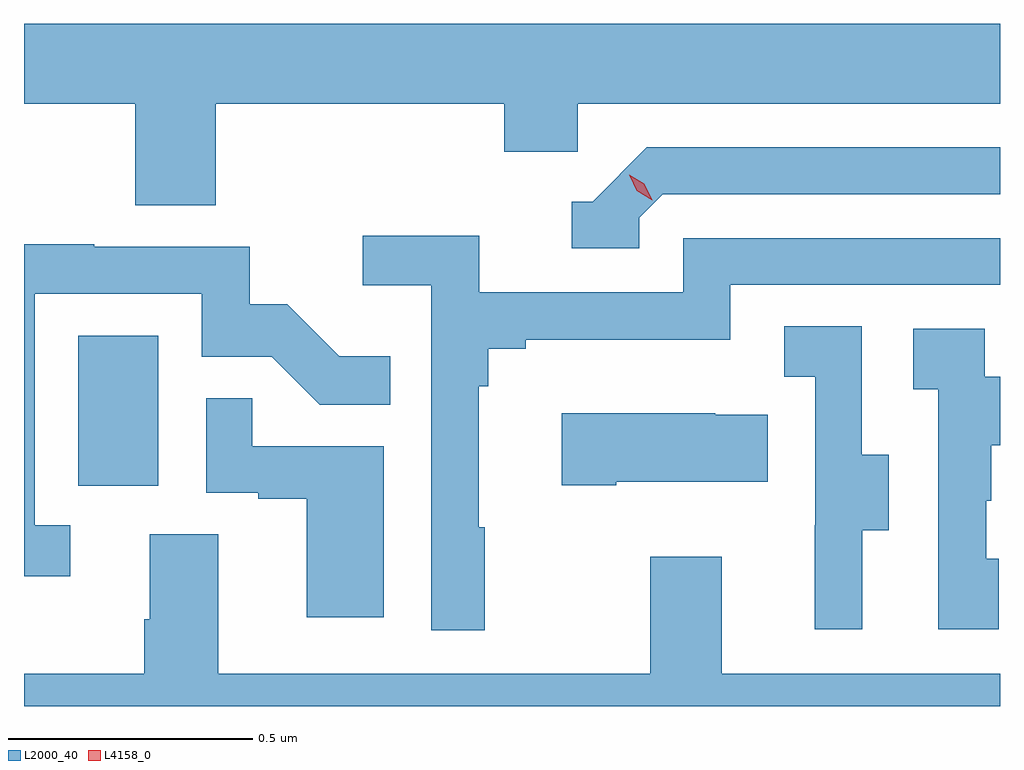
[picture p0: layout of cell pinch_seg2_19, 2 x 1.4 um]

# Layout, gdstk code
import gdstk
lib = gdstk.Library(unit=1e-6, precision=1e-09)
def R(c, l, rs):  # rectangles x0, y0, x1, y1
    for r in rs: c.add(gdstk.rectangle(r[:2], r[2:], *l))
def P(c, l, *ps):  # polygons
    for p in ps: c.add(gdstk.Polygon(p, *l))
L2000_40 = (2000, 40)
L4158_0 = (4158, 0)

pinch_seg2_19 = lib.new_cell('pinch_seg2_19')
R(pinch_seg2_19, L2000_40, [(1090.172,652.182,1090.336,652.489)])
P(pinch_seg2_19, L2000_40, [(1090.454,652.964),(1091.045,652.964),(1091.045,652.866),(1091.196,652.866),(1091.196,652.964),(1092.061,652.964),(1092.061,653.128),(1090.061,653.128),(1090.061,652.964),(1090.289,652.964),(1090.289,652.756),(1090.454,652.756)],
  [(1091.322,652.731),(1091.37,652.779),(1092.061,652.779),(1092.061,652.875),(1091.337,652.875),(1091.226,652.764),(1091.183,652.764),(1091.183,652.668),(1091.322,652.668)],
  [(1091.005,652.097),(1090.993,652.097),(1090.993,652.385),(1091.012,652.385),(1091.012,652.462),(1091.089,652.462),(1091.089,652.481),(1091.508,652.481),(1091.508,652.593),(1092.061,652.593),(1092.061,652.689),(1091.412,652.689),(1091.412,652.578),(1090.994,652.578),(1090.994,652.694),(1090.755,652.694),(1090.755,652.592),(1090.896,652.592),(1090.896,651.885),(1091.005,651.885)],
  [(1090.156,652.101),(1090.083,652.101),(1090.083,652.575),(1090.425,652.575),(1090.425,652.446),(1090.569,652.446),(1090.667,652.348),(1090.811,652.348),(1090.811,652.447),(1090.707,652.447),(1090.6,652.554),(1090.524,652.554),(1090.524,652.671),(1090.205,652.671),(1090.205,652.676),(1090.061,652.676),(1090.061,651.996),(1090.156,651.996)],
  [(1091.779,652.09),(1091.833,652.09),(1091.833,652.245),(1091.778,652.245),(1091.778,652.508),(1091.619,652.508),(1091.619,652.405),(1091.682,652.405),(1091.682,652.101),(1091.681,652.101),(1091.681,651.888),(1091.779,651.888)],
  [(1092.058,652.032),(1092.033,652.032),(1092.033,652.151),(1092.043,652.151),(1092.043,652.265),(1092.061,652.265),(1092.061,652.405),(1092.03,652.405),(1092.03,652.503),(1091.883,652.503),(1091.883,652.379),(1091.934,652.379),(1091.934,651.888),(1092.058,651.888)],
  [(1090.798,652.263),(1090.529,652.263),(1090.529,652.361),(1090.434,652.361),(1090.434,652.167),(1090.541,652.167),(1090.541,652.155),(1090.64,652.155),(1090.64,651.912),(1090.798,651.912)],
  [(1091.275,652.19),(1091.585,652.19),(1091.585,652.327),(1091.477,652.327),(1091.477,652.33),(1091.163,652.33),(1091.163,652.183),(1091.275,652.183)],
  [(1092.061,651.796),(1091.491,651.796),(1091.491,652.036),(1091.344,652.036),(1091.344,651.796),(1090.459,651.796),(1090.459,652.082),(1090.319,652.082),(1090.319,651.908),(1090.307,651.908),(1090.307,651.796),(1090.061,651.796),(1090.061,651.73),(1092.061,651.73)])
P(pinch_seg2_19, L4158_0, [(1091.348,652.767),(1091.317,652.786),(1091.301,652.819),(1091.301,652.819),(1091.301,652.819),(1091.332,652.8),(1091.348,652.767),(1091.348,652.767)])

lib.write_gds('pinch_seg2_19.gds')
